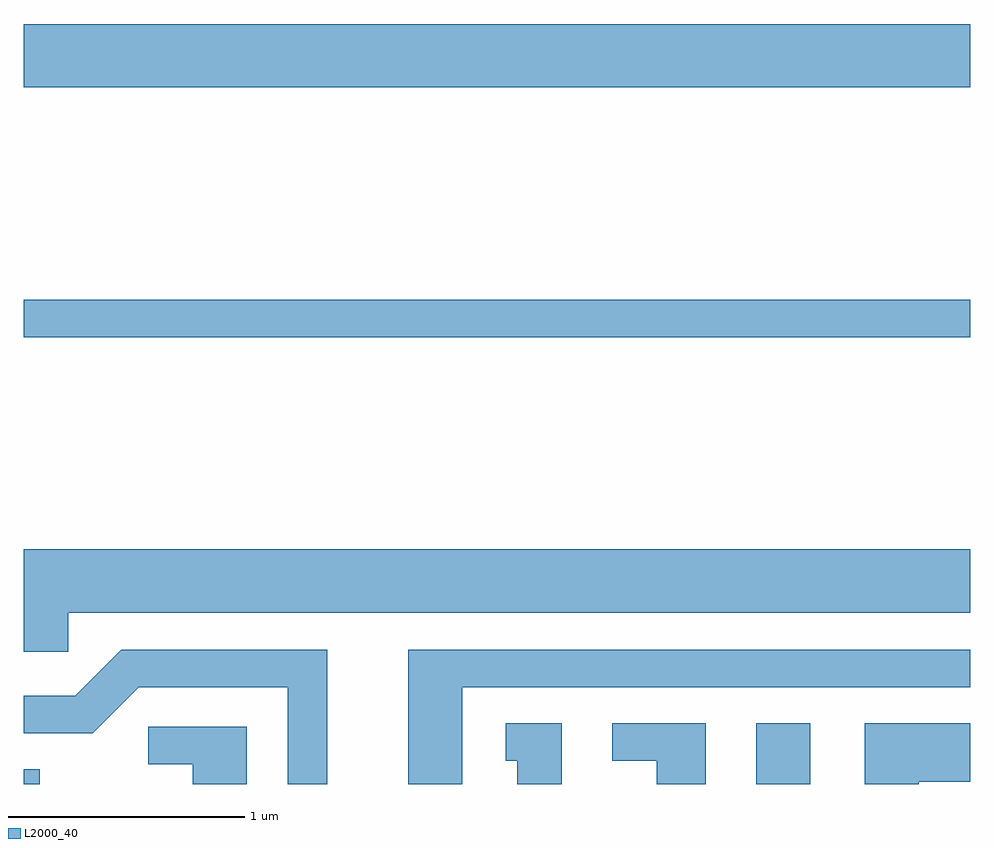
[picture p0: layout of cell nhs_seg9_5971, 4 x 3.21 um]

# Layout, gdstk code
import gdstk
lib = gdstk.Library(unit=1e-6, precision=1e-09)
def R(c, l, rs):  # rectangles x0, y0, x1, y1
    for r in rs: c.add(gdstk.rectangle(r[:2], r[2:], *l))
def P(c, l, *ps):  # polygons
    for p in ps: c.add(gdstk.Polygon(p, *l))
L2000_40 = (2000, 40)

nhs_seg9_5971 = lib.new_cell('nhs_seg9_5971')
R(nhs_seg9_5971, L2000_40, [(361.611,1984.432,361.679,1984.494), (364.706,1984.432,364.934,1984.689), (361.611,1986.321,365.611,1986.479), (361.611,1987.376,365.611,1987.644)])
P(nhs_seg9_5971, L2000_40, [(361.799,1985.156),(365.611,1985.156),(365.611,1985.424),(361.611,1985.424),(361.611,1984.991),(361.799,1984.991)],
  [(363.464,1984.841),(365.611,1984.841),(365.611,1984.999),(363.236,1984.999),(363.236,1984.432),(363.464,1984.432)],
  [(362.894,1984.999),(362.024,1984.999),(361.829,1984.804),(361.611,1984.804),(361.611,1984.646),(361.902,1984.646),(362.097,1984.841),(362.726,1984.841),(362.726,1984.432),(362.894,1984.432)],
  [(365.394,1984.441),(365.611,1984.441),(365.611,1984.689),(365.166,1984.689),(365.166,1984.432),(365.394,1984.432)],
  [(363.884,1984.689),(363.648,1984.689),(363.648,1984.531),(363.696,1984.531),(363.696,1984.432),(363.884,1984.432)],
  [(364.494,1984.689),(364.098,1984.689),(364.098,1984.531),(364.286,1984.531),(364.286,1984.432),(364.494,1984.432)],
  [(362.554,1984.674),(362.138,1984.674),(362.138,1984.516),(362.326,1984.516),(362.326,1984.432),(362.554,1984.432)])

lib.write_gds('nhs_seg9_5971.gds')
